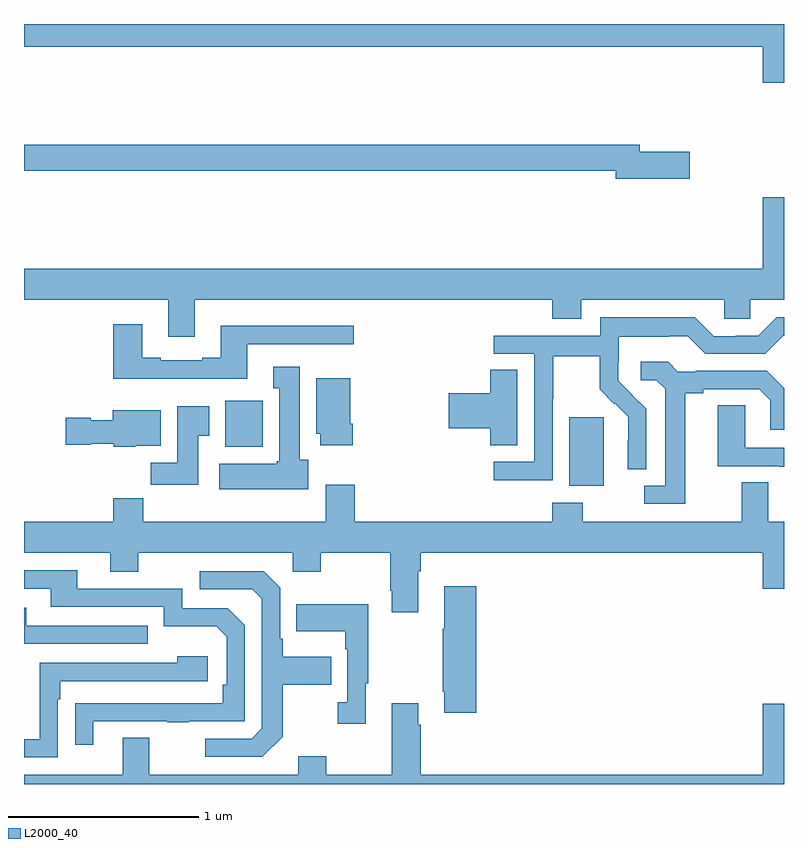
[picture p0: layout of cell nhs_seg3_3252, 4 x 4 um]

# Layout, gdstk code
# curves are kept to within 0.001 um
import gdstk
lib = gdstk.Library(unit=1e-6, precision=1e-09)
def R(c, l, rs):  # rectangles x0, y0, x1, y1
    for r in rs: c.add(gdstk.rectangle(r[:2], r[2:], *l))
def P(c, l, *ps):  # polygons
    for p in ps: c.add(gdstk.Polygon(p, *l))
L2000_40 = (2000, 40)

nhs_seg3_3252 = lib.new_cell('nhs_seg3_3252')
R(nhs_seg3_3252, L2000_40, [(283.871,667.97,284.05,668.331), (282.059,668.174,282.256,668.416)])
P(nhs_seg3_3252, L2000_40, [(285,670.4),(281,670.4),(281,670.28),(284.888,670.28),(284.888,670.092),(285,670.092)],
  [(284.503,669.728),(284.242,669.728),(284.242,669.764),(281,669.764),(281,669.628),(284.114,669.628),(284.114,669.586),(284.503,669.586)],
  [(281.899,668.948),(283.781,668.948),(283.781,668.849),(283.933,668.849),(283.933,668.948),(284.685,668.948),(284.685,668.85),(284.823,668.85),(284.823,668.948),(285,668.948),(285,669.487),(284.888,669.487),(284.888,669.112),(281,669.112),(281,668.948),(281.759,668.948),(281.759,668.754),(281.899,668.754)],
  [(283.782,668.428),(283.785,668.428),(283.785,668.652),(284.029,668.652),(284.029,668.477),(284.106,668.4),(284.109,668.403),(284.18,668.333),(284.18,668.21),(284.178,668.21),(284.178,668.056),(284.274,668.056),(284.274,668.374),(284.128,668.522),(284.128,668.619),(284.13,668.619),(284.13,668.753),(284.393,668.753),(284.393,668.757),(284.493,668.757),(284.586,668.664),(284.901,668.664),(284.997,668.76),(285,668.76),(285,668.856),(284.961,668.856),(284.865,668.76),(284.747,668.76),(284.747,668.757),(284.631,668.757),(284.531,668.857),(284.034,668.857),(284.034,668.76),(283.473,668.76),(283.473,668.664),(283.686,668.664),(283.686,668.097),(283.473,668.097),(283.473,667.999),(283.782,667.999)],
  [(282.175,668.715),(282.736,668.715),(282.736,668.812),(282.035,668.812),(282.035,668.644),(281.939,668.644),(281.939,668.631),(281.719,668.631),(281.719,668.644),(281.623,668.644),(281.623,668.821),(281.471,668.821),(281.471,668.534),(282.175,668.534)],
  [(284.479,668.456),(284.575,668.456),(284.575,668.478),(284.87,668.478),(284.927,668.421),(284.927,668.265),(285,668.265),(285,668.482),(284.908,668.574),(284.536,668.574),(284.536,668.571),(284.442,668.571),(284.39,668.623),(284.247,668.623),(284.247,668.526),(284.328,668.526),(284.375,668.479),(284.375,667.971),(284.265,667.971),(284.265,667.875),(284.479,667.875)],
  [(282.496,668.106),(282.451,668.106),(282.451,668.596),(282.311,668.596),(282.311,668.483),(282.344,668.483),(282.344,668.1),(282.331,668.1),(282.331,668.086),(282.027,668.086),(282.027,667.952),(282.496,667.952)],
  [(283.597,668.579),(283.454,668.579),(283.454,668.456),(283.236,668.456),(283.236,668.273),(283.454,668.273),(283.454,668.182),(283.597,668.182)],
  [(282.731,668.296),(282.718,668.296),(282.718,668.536),(282.539,668.536),(282.539,668.244),(282.56,668.244),(282.56,668.184),(282.731,668.184)],
  [(285,668.169),(284.796,668.169),(284.796,668.393),(284.651,668.393),(284.651,668.073),(284.975,668.073),(284.975,668.069),(285,668.069)],
  [(281.917,668.233),(281.974,668.233),(281.974,668.389),(281.807,668.389),(281.807,668.092),(281.668,668.092),(281.668,667.974),(281.917,667.974)],
  [(281.586,668.18),(281.719,668.18),(281.719,668.368),(281.468,668.368),(281.468,668.314),(281.352,668.314),(281.352,668.327),(281.22,668.327),(281.22,668.185),(281.352,668.185),(281.352,668.192),(281.472,668.192),(281.472,668.174),(281.586,668.174)],
  [(283.075,667.52),(283.088,667.52),(283.088,667.616),(284.888,667.616),(284.888,667.428),(285,667.428),(285,667.78),(284.917,667.78),(284.917,667.988),(284.777,667.988),(284.777,667.78),(283.941,667.78),(283.941,667.879),(283.781,667.879),(283.781,667.78),(282.74,667.78),(282.74,667.975),(282.587,667.975),(282.587,667.78),(281.627,667.78),(281.627,667.904),(281.471,667.904),(281.471,667.78),(281,667.78),(281,667.616),(281.453,667.616),(281.453,667.517),(281.601,667.517),(281.601,667.616),(282.414,667.616),(282.414,667.517),(282.561,667.517),(282.561,667.616),(282.928,667.616),(282.928,667.417),(282.935,667.417),(282.935,667.305),(283.075,667.305)],
  [(281.365,666.729),(281.755,666.729),(281.755,666.724),(281.867,666.724),(281.867,666.729),(282.162,666.729),(282.162,667.236),(282.072,667.326),(281.832,667.326),(281.832,667.428),(281.281,667.428),(281.281,667.524),(281,667.524),(281,667.428),(281.141,667.428),(281.141,667.332),(281.736,667.332),(281.736,667.229),(282.013,667.229),(282.066,667.176),(282.066,666.922),(282.046,666.922),(282.046,666.825),(281.269,666.824),(281.269,666.606),(281.365,666.606)],
  [(282.361,666.649),(282.361,666.922),(282.617,666.922),(282.617,667.069),(282.361,667.069),(282.361,667.165),(282.348,667.165),(282.348,667.434),(282.261,667.521),(281.925,667.521),(281.925,667.425),(282.201,667.425),(282.252,667.374),(282.252,666.693),(282.198,666.639),(281.955,666.639),(281.955,666.543),(282.255,666.543)],
  [(283.379,667.441),(283.211,667.441),(283.211,667.217),(283.204,667.217),(283.204,666.886),(283.211,666.886),(283.211,666.774),(283.379,666.774)],
  [(282.799,666.929),(282.811,666.929),(282.811,667.345),(282.433,667.345),(282.433,667.205),(282.69,667.205),(282.69,667.109),(282.702,667.109),(282.702,666.83),(282.651,666.83),(282.651,666.717),(282.799,666.717)],
  [(281.651,667.233),(281.011,667.233),(281.011,667.327),(281,667.327),(281,667.137),(281.651,667.137)],
  [(281.178,666.845),(281.191,666.845),(281.191,666.942),(281.968,666.942),(281.968,667.072),(281.807,667.072),(281.807,667.038),(281.082,667.038),(281.082,666.636),(281,666.636),(281,666.54),(281.178,666.54)],
  [(285,666.823),(284.888,666.823),(284.888,666.448),(283.088,666.448),(283.088,666.713),(283.075,666.713),(283.075,666.826),(282.935,666.826),(282.935,666.448),(282.591,666.448),(282.591,666.547),(282.443,666.547),(282.443,666.448),(281.659,666.448),(281.659,666.643),(281.519,666.643),(281.519,666.448),(281,666.448),(281,666.4),(285,666.4)])

lib.write_gds('nhs_seg3_3252.gds')
